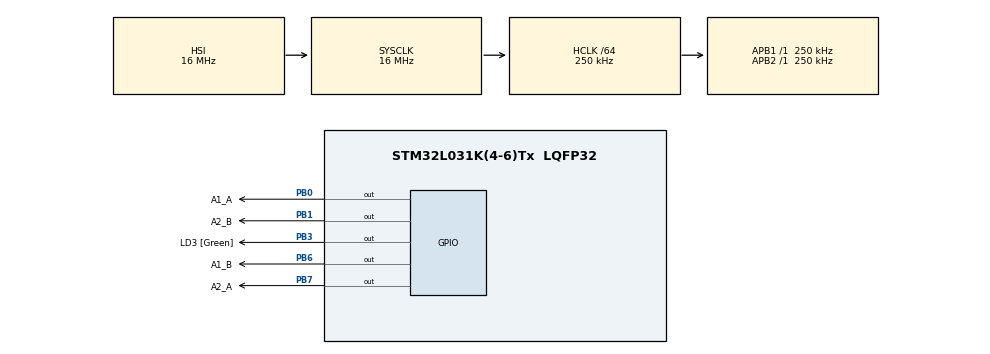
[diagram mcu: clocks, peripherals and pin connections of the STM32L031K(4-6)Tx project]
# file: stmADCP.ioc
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Mcu.Family=STM32L0
Mcu.Name=STM32L031K(4-6)Tx
Mcu.Package=LQFP32
NVIC.LPTIM1_IRQn=true\:0\:0\:false\:false\:true\:true\:true\:true
PA13.GPIO_Label=TMS
PA13.Mode=Serial_Wire
PA13.Signal=SYS_SWDIO
PA14.GPIO_Label=TCK
PA14.Mode=Serial_Wire
PA14.Signal=SYS_SWCLK
PA15.GPIO_Label=VCP_RX
PA15.Signal=USART2_RX
PA2.GPIO_Label=VCP_TX
PA2.Signal=USART2_TX
PB0.GPIO_Label=A1_A
PB0.GPIO_PuPd=GPIO_NOPULL
PB0.Signal=GPIO_Output
PB1.GPIO_Label=A2_B 
PB1.GPIO_PuPd=GPIO_NOPULL
PB1.Signal=GPIO_Output
PB3.GPIO_Label=LD3 [Green]
PB3.GPIO_PuPd=GPIO_PULLDOWN
PB3.Signal=GPIO_Output
PB6.GPIO_Label=A1_B
PB6.GPIO_PuPd=GPIO_NOPULL
PB6.Signal=GPIO_Output
PB7.GPIO_Label=A2_A
PB7.GPIO_PuPd=GPIO_NOPULL
PB7.Signal=GPIO_Output
PC14-OSC32_IN.Mode=LSE-External-Oscillator
PC14-OSC32_IN.Signal=RCC_OSC32_IN
PC15-OSC32_OUT.Mode=LSE-External-Oscillator
PC15-OSC32_OUT.Signal=RCC_OSC32_OUT
ProjectManager.HeapSize=0x200
ProjectManager.StackSize=0x400
ProjectManager.TargetToolchain=STM32CubeIDE
RCC.AHBCLKDivider=RCC_SYSCLK_DIV64
RCC.AHBFreq_Value=250000
RCC.APB1Freq_Value=250000
RCC.APB1TimFreq_Value=250000
RCC.APB2Freq_Value=250000
RCC.APB2TimFreq_Value=250000
RCC.HCLKFreq_Value=250000
RCC.HSE_VALUE=8000000
RCC.HSI16_VALUE=16000000
RCC.HSI48_VALUE=48000000
RCC.HSI_VALUE=16000000
RCC.LptimClockSelection=RCC_LPTIM1CLKSOURCE_LSE
RCC.MSI_VALUE=2097000
RCC.PLLMUL=RCC_PLLMUL_4
RCC.SYSCLKFreq_VALUE=16000000
RCC.SYSCLKSource=RCC_SYSCLKSOURCE_HSI
RCC.Usart2ClockSelection=RCC_USART2CLKSOURCE_SYSCLK
RCC.VCOOutputFreq_Value=64000000
VP_LPTIM1_VS_LPTIM_counterModeInternalClock.Mode=Counts__internal_clock_event_00
board=NUCLEO-L031K6

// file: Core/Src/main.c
/* USER CODE BEGIN Header */
/**
  ******************************************************************************
  * @file           : main.c
  * @brief          : Main program body
  ******************************************************************************
  * @attention
  *
  * Copyright (c) 2025 STMicroelectronics.
  * All rights reserved.
  *
  * This software is licensed under terms that can be found in the LICENSE file
  * in the root directory of this software component.
  * If no LICENSE file comes with this software, it is provided AS-IS.
  *
  ******************************************************************************
  */
/* USER CODE END Header */
#include "main.h"

/* USER CODE BEGIN Includes */
#include <stdio.h>
/* USER CODE END Includes */

LPTIM_HandleTypeDef hlptim1;

/* USER CODE BEGIN PV */
// If you want to use debugging, enable USART in Asynchronous mode
// DEbug info will appear on the STM COM port (use teraterm)
#undef MY_DEBUG

#define LED_ON
#define STARTUP_DELAY 15000

#define nADCP 2
#define nWindows 10

#undef HAS_ECHO // if we plan to use ECHOSOUNDER

// Ping schedule for the 2 ADCPs (remember to leave space for \0 terminator)
// Caveat: Currently, we don't optimize for synchronous pinging (i.e., both ADCPs having an "X" in the same window)
// 	We could detect this and use "TriggerAllADCPs" function instead of triggering them individually.
// 	This is not done, though.
#ifndef HAS_ECHO
// three-ping ensembles
static const char Pings[nADCP][nWindows+1] = {
			//   0123456789
				"XXXooooooo",
				"oooooXXXoo"
	};
#else
// four-ping ensembles
static const char Pings[nADCP][nWindows+1] = {
			//   0123456789
				"XXXXoooooo",
				"oooooXXXXo"
	};

#endif

// The idea is to start with several synchronous pings
#define NSTARTUP 6 // number of startup pings. might want to be multiple of ensemble size

// For 16 windows, LPTIM_PERIOD = 2048, so the update rate is 32768 / 2048 = 16 Hz
// For 10 windows, LPTIM_PERIOD = 3277, so the update rate is 32768 / 3277 =  9.99938 Hz (slightly shorter)
#define LSE_HZ 32768U
#define LPTIM_PERIOD ((LSE_HZ + nWindows/2) / nWindows)

// To describe the sync lines for each ADCP, we store the BSRR values for two states
// We compute these BSRR states by specifying the two pins
// We do not need to keep the pin numbers!
typedef struct {
    // pre-computed BSRR values
    uint32_t bsrr_state0;   // A=1, B=0
    uint32_t bsrr_state1;   // A=0, B=1
} ADCP_LinePair;

// helper macro that pre-computes BSRR
#define ADCP_PAIR(a_, b_) \
    { \
        .bsrr_state0 = ((uint32_t)(b_) << 16) | (a_), \
        .bsrr_state1 = ((uint32_t)(a_) << 16) | (b_) \
    }

// ADCP sync_out pins are *all on GPIOB*
#define ADCP_GPIO_PORT GPIOB
//
// For each ADCP, we specify two pins (A & B) ...
// Nucleo pin 	STM pin
//		D3			PB0
//		D4			PB7
//		D5			PB6
//		D6			PB1

#define D3 GPIO_PIN_0
#define D4 GPIO_PIN_7
#define D5 GPIO_PIN_6
#define D6 GPIO_PIN_1

// As of May 15. 2025
//const int pinADCP_RS485[nADCP][2] = {{D6, D4},
//									 {D5, D3}};

#undef RIOT_MISWIRE
#ifndef RIOT_MISWIRE
// Correct wiring
static const ADCP_LinePair ADCP[nADCP] = {
		ADCP_PAIR(D6, D4),   // ADCP 0
		ADCP_PAIR(D5, D3)    // ADCP 1
};
#else
// Incorrect (RIOT)  wiring
static const ADCP_LinePair ADCP[nADCP] = {
		ADCP_PAIR(D6, D5),   // ADCP 0
		ADCP_PAIR(D4, D3)    // ADCP 1
};
#endif

// Define ADCP line pair state
// 	state = 0 => A=1, B=0
// 	state = 1 => A=0, B=1
// Could be the other way around, the states themselves don't matter
// The state *change* triggers the ADCP
static uint8_t ADCP_State[nADCP] = {0, 0};

/* USER CODE END PV */

void SystemClock_Config(void);
static void MX_GPIO_Init(void);
static void MX_LPTIM1_Init(void);

/* USER CODE BEGIN 0 */

static void ADCP_Pin_Init(void) {
	// synchronous initialization
    uint32_t bsrr = 0;
    uint8_t a;

    for (a = 0; a < nADCP; a++) {
    	 ADCP_State[a] = 0;              // start in state 0: A=1, B=0
    	 bsrr |= ADCP[a].bsrr_state0;    // collect all outputs into one GPIOB write
    }

    ADCP_GPIO_PORT->BSRR = bsrr;
}

static void TriggerADCP(uint8_t a) {
	// trigger a given ADCP
    if (a < 0 || a >= nADCP) return;

    ADCP_State[a] ^= 1u;   // swap polarity
    ADCP_GPIO_PORT->BSRR = ADCP_State[a] ? ADCP[a].bsrr_state1
    									 : ADCP[a].bsrr_state0;
}

static void TriggerAllADCPs(void){
	// synchronous trigger (used for clock sync pulses)
    uint32_t bsrr = 0;
    uint8_t a;

        for (a = 0; a < nADCP; a++) {
            ADCP_State[a] ^= 1u;
            bsrr |= ADCP_State[a] ? ADCP[a].bsrr_state1
                                  : ADCP[a].bsrr_state0;
        }

        ADCP_GPIO_PORT->BSRR = bsrr;
}

static void ADCP_Sync_Window(void){
	// This function is called on regular intervals
	// We cannot check the timing, just rely on LPTIM
	static uint8_t StartupRemaining = NSTARTUP; // remaining startup pings
	static uint8_t Window = 0; // current window
	uint8_t a;
	uint8_t Active;

	Active = 0;
#ifdef MY_DEBUG
	HAL_UART_DeInit(&huart2);
	HAL_UART_Init(&huart2);
	printf("Window %d...\r\n",Window);
#endif

	if (StartupRemaining){

		// startup pings, trigger both ADCPs as fast as possible
		Active = 1;
		TriggerAllADCPs();
		StartupRemaining--;
	}
	else {
		// regular pinging
		for(a=0;a<nADCP;a++){
			if (Pings[a][Window] == 'X') {
				// This window is active, toggle the line(s)
				Active = 1;
				TriggerADCP(a);

#ifdef MY_DEBUG
				printf("%d",a);
#endif
			}
		}
		// Move to the next window
		Window = (Window + 1)%nWindows;
	}

	#ifdef LED_ON
		if (Active){
			// If this was an active window for any of the ADCPs, turn the LED on
			HAL_GPIO_WritePin(LD3_GPIO_Port, LD3_Pin, GPIO_PIN_SET);
		}
		else{
			// Turn LED OFF
			HAL_GPIO_WritePin(LD3_GPIO_Port, LD3_Pin, GPIO_PIN_RESET);
		}
	#endif
}

#ifdef MY_DEBUG
	int _write(int file, char *ptr, int len)
	{
		HAL_UART_Transmit(&huart2, (uint8_t*)ptr, len, HAL_MAX_DELAY);
		return len;
	}
#endif

void HAL_LPTIM_AutoReloadMatchCallback(LPTIM_HandleTypeDef *hlptim)	{
	if (hlptim->Instance == LPTIM1) 	{
		ADCP_Sync_Window();
	}
}
/* USER CODE END 0 */

int main(void)
{

  /* MCU Configuration--------------------------------------------------------*/

  /* Reset of all peripherals, Initializes the Flash interface and the Systick. */
  HAL_Init();

  /* Configure the system clock */
  SystemClock_Config();

  /* Initialize all configured peripherals */
  MX_GPIO_Init();
  MX_LPTIM1_Init();
  /* USER CODE BEGIN 2 */
  ADCP_Pin_Init();
  HAL_GPIO_WritePin(LD3_GPIO_Port, LD3_Pin, GPIO_PIN_SET); // LED on
  HAL_Delay(STARTUP_DELAY);  // Wait some time to allow debugger to connect (or allow both ADCPs to initialize)
  HAL_GPIO_WritePin(LD3_GPIO_Port, LD3_Pin,  GPIO_PIN_RESET); // LED off

 // Set the timer counter using pre-computed period (need to subtract 1)
  // HAL_LPTIM_Counter_Start_IT(&hlptim1, round(32768.0/nWindows)-1 ); // this requires <math.h>
  HAL_LPTIM_Counter_Start_IT(&hlptim1, LPTIM_PERIOD - 1);

  /* USER CODE END 2 */

  /* Infinite loop */
  while (1)
  {

    /* USER CODE BEGIN 3 */
	 HAL_PWR_EnterSTOPMode(PWR_LOWPOWERREGULATOR_ON, PWR_STOPENTRY_WFI);
  }
  /* USER CODE END 3 */
}

void SystemClock_Config(void)
{
  RCC_OscInitTypeDef RCC_OscInitStruct = {0};
  RCC_ClkInitTypeDef RCC_ClkInitStruct = {0};
  RCC_PeriphCLKInitTypeDef PeriphClkInit = {0};

  /** Configure the main internal regulator output voltage
  */
  __HAL_PWR_VOLTAGESCALING_CONFIG(PWR_REGULATOR_VOLTAGE_SCALE1);

  /** Configure LSE Drive Capability
  */
  HAL_PWR_EnableBkUpAccess();
  __HAL_RCC_LSEDRIVE_CONFIG(RCC_LSEDRIVE_LOW);

  /** Initializes the RCC Oscillators according to the specified parameters
  * in the RCC_OscInitTypeDef structure.
  */
  RCC_OscInitStruct.OscillatorType = RCC_OSCILLATORTYPE_HSI|RCC_OSCILLATORTYPE_LSE;
  RCC_OscInitStruct.LSEState = RCC_LSE_ON;
  RCC_OscInitStruct.HSIState = RCC_HSI_ON;
  RCC_OscInitStruct.HSICalibrationValue = RCC_HSICALIBRATION_DEFAULT;
  RCC_OscInitStruct.PLL.PLLState = RCC_PLL_NONE;
  if (HAL_RCC_OscConfig(&RCC_OscInitStruct) != HAL_OK)
  {
    Error_Handler();
  }

  /** Initializes the CPU, AHB and APB buses clocks
  */
  RCC_ClkInitStruct.ClockType = RCC_CLOCKTYPE_HCLK|RCC_CLOCKTYPE_SYSCLK
                              |RCC_CLOCKTYPE_PCLK1|RCC_CLOCKTYPE_PCLK2;
  RCC_ClkInitStruct.SYSCLKSource = RCC_SYSCLKSOURCE_HSI;
  RCC_ClkInitStruct.AHBCLKDivider = RCC_SYSCLK_DIV64;
  RCC_ClkInitStruct.APB1CLKDivider = RCC_HCLK_DIV1;
  RCC_ClkInitStruct.APB2CLKDivider = RCC_HCLK_DIV1;

  if (HAL_RCC_ClockConfig(&RCC_ClkInitStruct, FLASH_LATENCY_0) != HAL_OK)
  {
    Error_Handler();
  }
  PeriphClkInit.PeriphClockSelection = RCC_PERIPHCLK_LPTIM1;
  PeriphClkInit.LptimClockSelection = RCC_LPTIM1CLKSOURCE_LSE;

  if (HAL_RCCEx_PeriphCLKConfig(&PeriphClkInit) != HAL_OK)
  {
    Error_Handler();
  }
}

static void MX_LPTIM1_Init(void)
{

  hlptim1.Instance = LPTIM1;
  hlptim1.Init.Clock.Source = LPTIM_CLOCKSOURCE_APBCLOCK_LPOSC;
  hlptim1.Init.Clock.Prescaler = LPTIM_PRESCALER_DIV1;
  hlptim1.Init.Trigger.Source = LPTIM_TRIGSOURCE_SOFTWARE;
  hlptim1.Init.OutputPolarity = LPTIM_OUTPUTPOLARITY_HIGH;
  hlptim1.Init.UpdateMode = LPTIM_UPDATE_IMMEDIATE;
  hlptim1.Init.CounterSource = LPTIM_COUNTERSOURCE_INTERNAL;
  if (HAL_LPTIM_Init(&hlptim1) != HAL_OK)
  {
    Error_Handler();
  }

}

static void MX_GPIO_Init(void)
{
  GPIO_InitTypeDef GPIO_InitStruct = {0};

  /* GPIO Ports Clock Enable */
  __HAL_RCC_GPIOC_CLK_ENABLE();
  __HAL_RCC_GPIOA_CLK_ENABLE();
  __HAL_RCC_GPIOB_CLK_ENABLE();

  /*Configure GPIO pin Output Level */
  HAL_GPIO_WritePin(GPIOB, A1_A_Pin|A2_B_Pin|LD3_Pin|A1_B_Pin
                          |A2_A_Pin, GPIO_PIN_RESET);

  /*Configure GPIO pins : PA0 PA1 PA3 PA4
                           PA5 PA6 PA7 PA8
                           PA9 PA10 PA11 PA12 */
  GPIO_InitStruct.Pin = GPIO_PIN_0|GPIO_PIN_1|GPIO_PIN_3|GPIO_PIN_4
                          |GPIO_PIN_5|GPIO_PIN_6|GPIO_PIN_7|GPIO_PIN_8
                          |GPIO_PIN_9|GPIO_PIN_10|GPIO_PIN_11|GPIO_PIN_12;
  GPIO_InitStruct.Mode = GPIO_MODE_ANALOG;
  GPIO_InitStruct.Pull = GPIO_NOPULL;
  HAL_GPIO_Init(GPIOA, &GPIO_InitStruct);

  /*Configure GPIO pins : VCP_TX_Pin VCP_RX_Pin */
  GPIO_InitStruct.Pin = VCP_TX_Pin|VCP_RX_Pin;
  GPIO_InitStruct.Mode = GPIO_MODE_AF_PP;
  GPIO_InitStruct.Pull = GPIO_NOPULL;
  GPIO_InitStruct.Speed = GPIO_SPEED_FREQ_VERY_HIGH;
  GPIO_InitStruct.Alternate = GPIO_AF4_USART2;
  HAL_GPIO_Init(GPIOA, &GPIO_InitStruct);

  /*Configure GPIO pins : A1_A_Pin A2_B_Pin A1_B_Pin A2_A_Pin */
  GPIO_InitStruct.Pin = A1_A_Pin|A2_B_Pin|A1_B_Pin|A2_A_Pin;
  GPIO_InitStruct.Mode = GPIO_MODE_OUTPUT_PP;
  GPIO_InitStruct.Pull = GPIO_NOPULL;
  GPIO_InitStruct.Speed = GPIO_SPEED_FREQ_LOW;
  HAL_GPIO_Init(GPIOB, &GPIO_InitStruct);

  /*Configure GPIO pin : LD3_Pin */
  GPIO_InitStruct.Pin = LD3_Pin;
  GPIO_InitStruct.Mode = GPIO_MODE_OUTPUT_PP;
  GPIO_InitStruct.Pull = GPIO_NOPULL;
  GPIO_InitStruct.Speed = GPIO_SPEED_FREQ_LOW;
  HAL_GPIO_Init(LD3_GPIO_Port, &GPIO_InitStruct);

  /*Configure GPIO pins : PB4 PB5 */
  GPIO_InitStruct.Pin = GPIO_PIN_4|GPIO_PIN_5;
  GPIO_InitStruct.Mode = GPIO_MODE_ANALOG;
  GPIO_InitStruct.Pull = GPIO_NOPULL;
  HAL_GPIO_Init(GPIOB, &GPIO_InitStruct);

}

void Error_Handler(void)
{
  __disable_irq();
  while (1)
  {
  }
}
